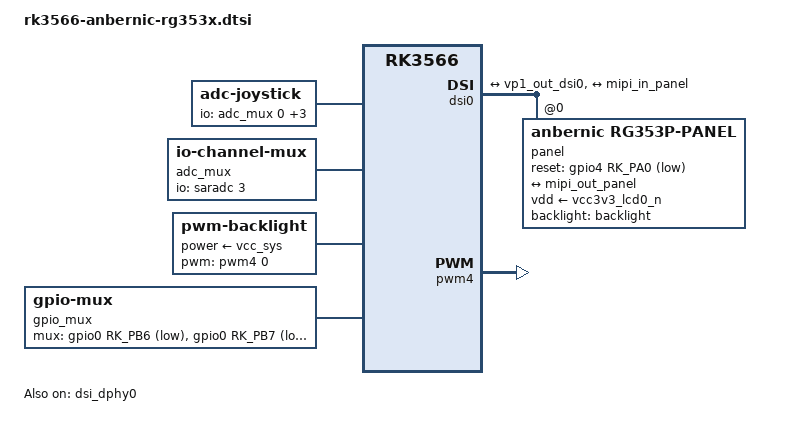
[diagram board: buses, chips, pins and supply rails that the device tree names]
// SPDX-License-Identifier: (GPL-2.0+ OR MIT)

/dts-v1/;

#include <dt-bindings/gpio/gpio.h>
#include <dt-bindings/input/linux-event-codes.h>
#include <dt-bindings/pinctrl/rockchip.h>
#include "rk3566-anbernic-rgxx3.dtsi"

/ {
	adc-joystick {
		compatible = "adc-joystick";
		io-channels = <&adc_mux 0>,
			      <&adc_mux 1>,
			      <&adc_mux 2>,
			      <&adc_mux 3>;
		pinctrl-0 = <&joy_mux_en>;
		pinctrl-names = "default";
		poll-interval = <60>;
		#address-cells = <1>;
		#size-cells = <0>;

		axis@0 {
			reg = <0>;
			abs-flat = <32>;
			abs-fuzz = <32>;
			abs-range = <1023 15>;
			linux,code = <ABS_X>;
		};

		axis@1 {
			reg = <1>;
			abs-flat = <32>;
			abs-fuzz = <32>;
			abs-range = <15 1023>;
			linux,code = <ABS_RX>;
		};

		axis@2 {
			reg = <2>;
			abs-flat = <32>;
			abs-fuzz = <32>;
			abs-range = <15 1023>;
			linux,code = <ABS_Y>;
		};

		axis@3 {
			reg = <3>;
			abs-flat = <32>;
			abs-fuzz = <32>;
			abs-range = <1023 15>;
			linux,code = <ABS_RY>;
		};
	};

	adc_mux: adc-mux {
		compatible = "io-channel-mux";
		channels = "left_x", "right_x", "left_y", "right_y";
		#io-channel-cells = <1>;
		io-channels = <&saradc 3>;
		io-channel-names = "parent";
		mux-controls = <&gpio_mux>;
		settle-time-us = <100>;
	};

	backlight: backlight {
		compatible = "pwm-backlight";
		power-supply = <&vcc_sys>;
		pwms = <&pwm4 0 25000 0>;
	};

	gpio_mux: mux-controller {
		compatible = "gpio-mux";
		mux-gpios = <&gpio0 RK_PB6 GPIO_ACTIVE_LOW>,
			    <&gpio0 RK_PB7 GPIO_ACTIVE_LOW>;
		#mux-control-cells = <0>;
	};
};

&cru {
	assigned-clocks = <&pmucru CLK_RTC_32K>, <&cru PLL_GPLL>,
			  <&pmucru PLL_PPLL>, <&cru PLL_VPLL>;
	assigned-clock-rates = <32768>, <1200000000>,
			       <200000000>, <241500000>;
};

&dsi_dphy0 {
	status = "okay";
};

&dsi0 {
	status = "okay";
	#address-cells = <1>;
	#size-cells = <0>;

	ports {
		dsi0_in: port@0 {
			reg = <0>;
			dsi0_in_vp1: endpoint {
				remote-endpoint = <&vp1_out_dsi0>;
			};
		};

		dsi0_out: port@1 {
			reg = <1>;
			mipi_out_panel: endpoint {
				remote-endpoint = <&mipi_in_panel>;
			};
		};
	};

	panel: panel@0 {
		compatible = "anbernic,rg353p-panel", "newvision,nv3051d";
		reg = <0>;
		backlight = <&backlight>;
		pinctrl-names = "default";
		pinctrl-0 = <&lcd_rst>;
		reset-gpios = <&gpio4 RK_PA0 GPIO_ACTIVE_LOW>;
		vdd-supply = <&vcc3v3_lcd0_n>;

		port {
			mipi_in_panel: endpoint {
				remote-endpoint = <&mipi_out_panel>;
			};
		};
	};
};

&gpio_keys_control {
	button-a {
		gpios = <&gpio3 RK_PC2 GPIO_ACTIVE_LOW>;
		label = "EAST";
		linux,code = <BTN_EAST>;
	};

	button-left {
		gpios = <&gpio3 RK_PA6 GPIO_ACTIVE_LOW>;
		label = "DPAD-LEFT";
		linux,code = <BTN_DPAD_LEFT>;
	};

	button-right {
		gpios = <&gpio3 RK_PA5 GPIO_ACTIVE_LOW>;
		label = "DPAD-RIGHT";
		linux,code = <BTN_DPAD_RIGHT>;
	};

	button-thumbl {
		gpios = <&gpio3 RK_PA1 GPIO_ACTIVE_LOW>;
		label = "THUMBL";
		linux,code = <BTN_THUMBL>;
	};

	button-thumbr {
		gpios = <&gpio3 RK_PA2 GPIO_ACTIVE_LOW>;
		label = "THUMBR";
		linux,code = <BTN_THUMBR>;
	};

	button-y {
		gpios = <&gpio3 RK_PC1 GPIO_ACTIVE_LOW>;
		label = "WEST";
		linux,code = <BTN_WEST>;
	};
};

&i2c0 {
	/* This hardware is physically present but unused. */
	power-monitor@62 {
		compatible = "cellwise,cw2015";
		reg = <0x62>;
		status = "disabled";
	};
};

&pinctrl {
	gpio-lcd {
		lcd_rst: lcd-rst {
			rockchip,pins =
				<4 RK_PA0 RK_FUNC_GPIO &pcfg_pull_none>;
		};
	};
};

&pwm4 {
	status = "okay";
};

&vp1 {
	vp1_out_dsi0: endpoint@ROCKCHIP_VOP2_EP_MIPI0 {
		reg = <ROCKCHIP_VOP2_EP_MIPI0>;
		remote-endpoint = <&dsi0_in_vp1>;
	};
};
